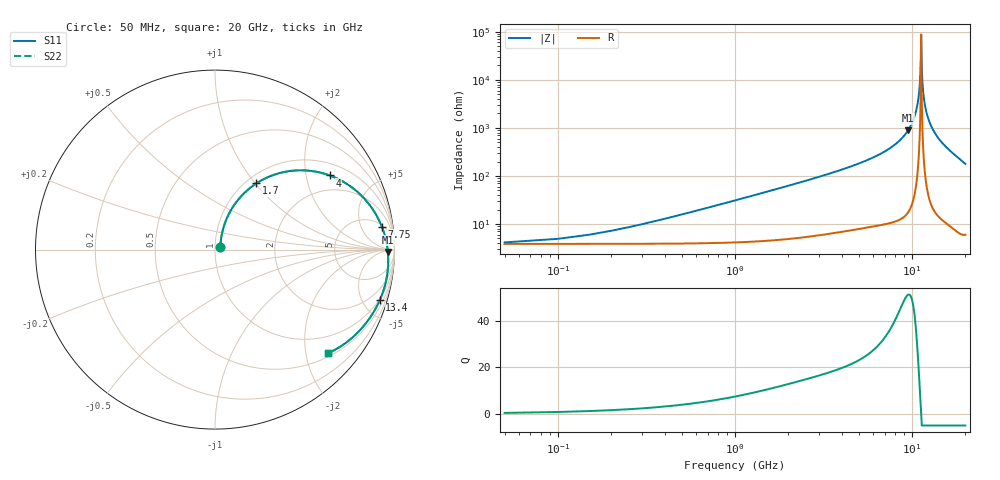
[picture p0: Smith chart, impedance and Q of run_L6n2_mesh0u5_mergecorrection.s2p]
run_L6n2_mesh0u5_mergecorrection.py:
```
########################################################################
#
# Copyright 2025 Volker Muehlhaus and IHP PDK Authors
#
# Licensed under the GNU General Public License, Version 3.0 (the "License");
# you may not use this file except in compliance with the License.
# You may obtain a copy of the License at
#
#    https://www.gnu.org/licenses/gpl-3.0
#
# Unless required by applicable law or agreed to in writing, software
# distributed under the License is distributed on an "AS IS" BASIS,
# WITHOUT WARRANTIES OR CONDITIONS OF ANY KIND, either express or implied.
# See the License for the specific language governing permissions and
# limitations under the License.
#
########################################################################

import os

from gds2openEMS import *

from openEMS import openEMS
import numpy as np


# Model comments
#
# This is a generic model running port excitation for all ports defined below,
# to get full [S] matrix data.
# Output is stored to Touchstone S-parameter file.
# No data plots are created by this script.
#
# This model uses the settings{} dictionary syntax and the gds2openEMS PyPI package
# (pip install gds2openEMS) instead of a local copy of the modules folder - see the
# README for the loose-variable / local-modules-copy alternative, still fully supported.


# ======================== workflow settings ================================

settings = {}

settings['preview_only'] = False  # preview model/mesh only?
settings['no_gui'] = False # if set to True, there is no mesh/model preview in AppCSXCAD, and simulation starts immediately.

settings['numthreads'] = 0 # run on xx cores, changes to 0 for automatic detection by openEMS


# ===================== input files and path settings =======================

gds_filename = "L6n2_with_ports.gds"   # geometries
XML_filename = "openEMS_SG13G2_200um.xml"          # stackup

# merge via polygons with distance less than .. microns, set to 0 to disable via merging.
settings['merge_polygon_size'] = 2
settings['fill_factor_correction'] = True

settings['preprocess_gds'] = False # preprocessing is no longer required

# get path for this simulation file
script_path = utilities.get_script_path(__file__)
# use script filename as model basename
model_basename = utilities.get_basename(__file__)
# set and create directory for simulation output
sim_path = utilities.create_sim_path (script_path,model_basename)
print('Simulation data directory: ', sim_path)
# change current path to model script path
os.chdir(os.path.dirname(os.path.abspath(__file__)))

# ======================== simulation settings ================================

settings['unit']   = 1e-6  # geometry is in microns
settings['margin'] = 250    # distance in microns from GDSII geometry boundary to simulation boundary

settings['fstart']  = 0e9
settings['fstop']   = 20e9
settings['numfreq'] = 401

settings['refined_cellsize'] = 0.5 # mesh cell size in conductor region

# choices for boundary:
# 'PEC' : perfect electric conductor (default)
# 'PMC' : perfect magnetic conductor, useful for symmetries
# 'MUR' : simple MUR absorbing boundary conditions
# 'PML_8' : PML absorbing boundary conditions
settings['Boundaries'] = ['PEC', 'PEC', 'PEC', 'PEC', 'PEC', 'PEC']

settings['cells_per_wavelength'] = 20   # how many mesh cells per wavelength, must be 10 or more
settings['energy_limit'] = -40          # end criteria for residual energy (dB)

# port configuration, port geometry is read from GDSII file on the specified layer
simulation_ports = simulation_setup.all_simulation_ports()

# in-plane port is specified with target_layername= and direction x or y
# via port is specified with from_layername= and to_layername= and direction z
simulation_ports.add_port(simulation_setup.simulation_port(portnumber=1, 
                                                           voltage=1, 
                                                           port_Z0=50, 
                                                           source_layernum=201, 
                                                           from_layername='SUBGND', 
                                                           to_layername='TopMetal1', 
                                                           direction='z'))

simulation_ports.add_port(simulation_setup.simulation_port(portnumber=2, 
                                                           voltage=1, 
                                                           port_Z0=50, 
                                                           source_layernum=202, 
                                                           from_layername='SUBGND', 
                                                           to_layername='TopMetal1', 
                                                           direction='z'))

# ======================== simulation ================================

# get technology stackup data
materials_list, dielectrics_list, metals_list = stackup_reader.read_substrate (XML_filename)
# get list of layers from technology
layernumbers = metals_list.getlayernumbers()
# we must also read the layers where we added ports, these are not included in technology layers
layernumbers.extend(simulation_ports.portlayers)

# read geometries from GDSII, only purpose 0
allpolygons = gds_reader.read_gds(gds_filename,
                                  layernumbers,
                                  purposelist=[0],
                                  metals_list=metals_list,
                                  preprocess=settings['preprocess_gds'],
                                  merge_polygon_size=settings['merge_polygon_size'])

# maximum cellsize is calculated inside setupSimulation when using settings dictionary

# define excitation and stop criteria and boundaries
FDTD = openEMS(EndCriteria=np.exp(settings['energy_limit']/10 * np.log(10)))
FDTD.SetGaussExcite( (settings['fstart']+settings['fstop'])/2, (settings['fstop']-settings['fstart'])/2 )
FDTD.SetBoundaryCond( settings['Boundaries'] )

settings['simulation_ports'] = simulation_ports
settings['materials_list'] = materials_list
settings['dielectrics_list'] = dielectrics_list
settings['metals_list'] = metals_list
settings['layernumbers'] = layernumbers
settings['allpolygons'] = allpolygons
settings['sim_path'] = sim_path
settings['model_basename'] = model_basename


########### create model, run and post-process ###########

# run all active port excitations, one after another. Ports with voltage=0 are skipped here -
# their S-parameters are left out of the result, see the FAQ in the user's guide.

for excite_portnumbers in simulation_ports.all_active_excitations():
    settings['excite_portnumbers'] = excite_portnumbers

    simulation_setup.setupSimulation (FDTD=FDTD, settings=settings)  # must use named parameters when using settings dict!
    simulation_setup.runSimulation   (FDTD=FDTD, settings=settings)  # must use named parameters when using settings dict!


# Initialize an empty matrix for S-parameters
num_ports = simulation_ports.portcount
s_params = np.empty((num_ports, num_ports, settings['numfreq']), dtype=object)

# Define frequency resolution. Due to FFT from Empire time domain results,
# this is postprocessing and we can change it again at any time.
f = np.linspace(settings['fstart'],settings['fstop'],settings['numfreq'])

# Populate the S-parameter matrix with simulation results
for i in range(1, num_ports + 1):
    for j in range(1, num_ports + 1):
        s_params[i-1, j-1] = utilities.calculate_Sij(i, j, f, sim_path, simulation_ports)

# Write to Touchstone *.snp file
snp_name = os.path.join(sim_path, model_basename + '.s' + str(num_ports) + 'p')
utilities.write_snp(s_params, f, snp_name, z0=simulation_ports.get_reference_impedance())

print('Created S-parameter output file at ', snp_name)
```
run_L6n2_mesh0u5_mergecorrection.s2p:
#  Hz  S  RI  R  50
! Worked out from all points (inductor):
!   400 points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, 50 MHz to 20 GHz, reference 50 ohm
!   read as one part in series: L = 4.85 nH near 400 MHz
!   highest Q = 51.2 at 9.5 GHz (marker M1), where L = 15 nH
!   self-resonance near 11.25 GHz
!   S11 on the Smith chart (normalised r, x): 50 MHz: 1.06, +0.03; 1.7 GHz: 1.11, +1.02; 4 GHz: 1.40, +2.75; 7.75 GHz: 6, +12; 13.4 GHz: 0.90, -6.53; 20 GHz: 0.58, -2.46
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5e7  0.0298 0.0137  0.9553 -0.0146  0.9553 -0.0146  0.0298 0.0137
1.7e9  0.2312 0.3693  0.7491 -0.3977  0.7491 -0.3977  0.2312 0.3692
4e9  0.6397 0.4132  0.3323 -0.4694  0.3323 -0.4694  0.6396 0.413
7.75e9  0.9296 0.1278  0.0369 -0.2272  0.0369 -0.2272  0.9295 0.1274
9.5e9  0.9631 -0.0133  0.000624 -0.1078  0.000624 -0.1078  0.9629 -0.0138
1.005e10  0.9653 -0.0555  -0.00261 -0.0726  -0.00261 -0.0726  0.965 -0.0559
1.095e10  0.9618 -0.1216  -0.00113 -0.0178  -0.00113 -0.0178  0.9616 -0.1221
1.125e10  0.959 -0.1429  0.00105 -0.000321  0.00105 -0.000322  0.9587 -0.1433
1.17e10  0.9532 -0.1739  0.00572 0.025  0.00572 0.025  0.9529 -0.1744
1.34e10  0.918 -0.2822  0.0367 0.112  0.0367 0.112  0.9176 -0.2827
2e10  0.6309 -0.5756  0.3008 0.3178  0.3008 0.3178  0.6304 -0.5759
